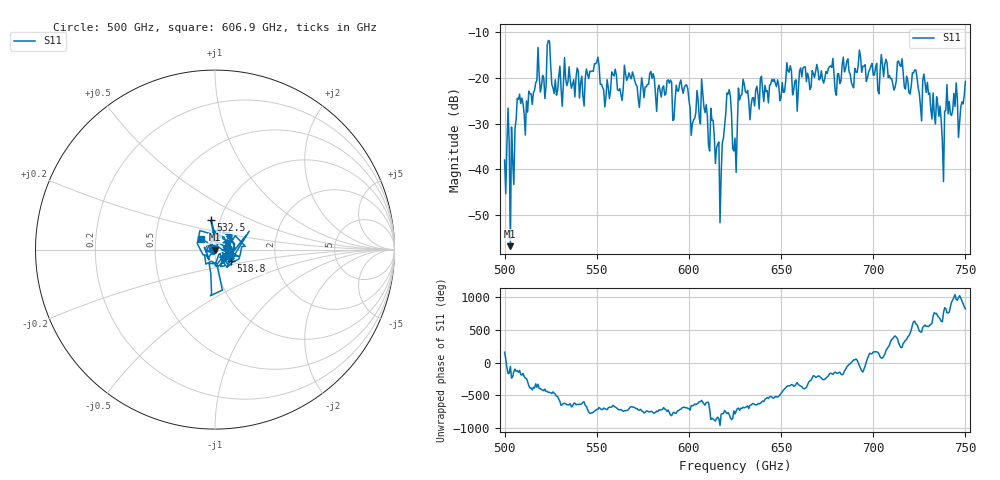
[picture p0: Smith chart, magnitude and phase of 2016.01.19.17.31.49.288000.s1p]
!Created with skrf (http://scikit-rf.org).
# GHz S RI R 50.0
!freq ReS11 ImS11
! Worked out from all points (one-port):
!   401 points, 500 GHz to 750 GHz, reference 50 ohm
!   lowest |S11| = -56.8 dB at 503.1 GHz (marker M1), VSWR 1.00, Z = 50.1 - j0.124 ohm
!   |S11| at or under -10 dB: start of sweep to end of sweep
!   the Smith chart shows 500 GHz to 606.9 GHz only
!   S11 on the Smith chart (normalised r, x): 500 GHz: 0.98, +0.01; 518.8 GHz: 1.18, -0.15; 532.5 GHz: 0.91, +0.31; 606.9 GHz: 0.85, +0.10
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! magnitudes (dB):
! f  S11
! 500 GHz  -37.9
! 503.1 GHz  -56.8
! 504.4 GHz  -38.1
! 508.1 GHz  -23.5
! 511.2 GHz  -32.5
! 518.8 GHz  -19.4
! 524.4 GHz  -11.9
! 526.9 GHz  -23.4
! 531.2 GHz  -26.2
! 532.5 GHz  -15.5
! 550 GHz  -16.5
! 553.8 GHz  -22.6
! 562.5 GHz  -22.3
! 593.8 GHz  -22.8
! 602.5 GHz  -29.2
! 606.9 GHz  -20.2
! 616.2 GHz  -34.0
! 621.9 GHz  -22.5
! 625 GHz  -33.2
! 628.1 GHz  -23.9
! 656.2 GHz  -23.7
! 687.5 GHz  -19.1
! 711.2 GHz  -22.7
! 714.4 GHz  -17.2
! 718.8 GHz  -20.5
! 728.1 GHz  -21.1
! 736.9 GHz  -29.3
! 750 GHz  -20.7
